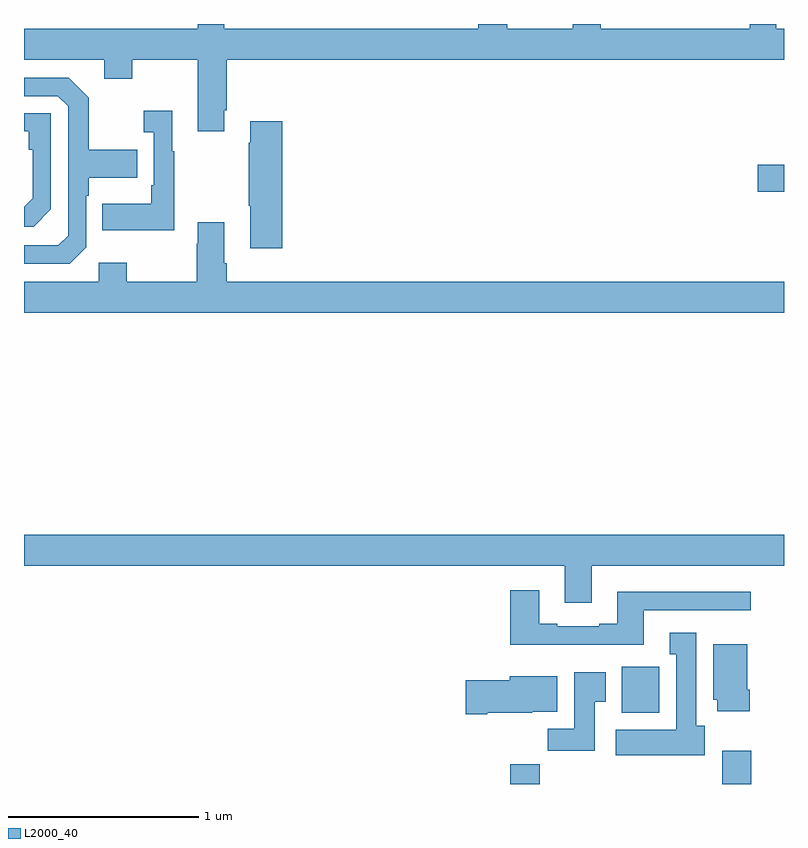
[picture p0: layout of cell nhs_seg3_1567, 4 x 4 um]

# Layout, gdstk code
import gdstk
lib = gdstk.Library(unit=1e-6, precision=1e-09)
def R(c, l, rs):  # rectangles x0, y0, x1, y1
    for r in rs: c.add(gdstk.rectangle(r[:2], r[2:], *l))
def P(c, l, *ps):  # polygons
    for p in ps: c.add(gdstk.Polygon(p, *l))
L2000_40 = (2000, 40)

nhs_seg3_1567 = lib.new_cell('nhs_seg3_1567')
R(nhs_seg3_1567, L2000_40, [(193.559,734.4,193.715,734.504), (194.675,734.4,194.828,734.575), (194.147,734.774,194.344,735.016), (194.862,737.518,195,737.66)])
P(nhs_seg3_1567, L2000_40, [(192.055,737.947),(192.068,737.947),(192.068,738.212),(195,738.212),(195,738.376),(194.959,738.376),(194.959,738.4),(194.819,738.4),(194.819,738.376),(194.035,738.376),(194.035,738.4),(193.888,738.4),(193.888,738.376),(193.543,738.376),(193.543,738.4),(193.391,738.4),(193.391,738.376),(192.055,738.376),(192.055,738.4),(191.915,738.4),(191.915,738.376),(191,738.376),(191,738.212),(191.423,738.212),(191.423,738.113),(191.571,738.113),(191.571,738.212),(191.915,738.212),(191.915,737.835),(192.055,737.835)],
  [(191.328,737.226),(191.328,737.495),(191.341,737.495),(191.341,737.591),(191.597,737.591),(191.597,737.739),(191.341,737.739),(191.341,738.011),(191.235,738.117),(191,738.117),(191,738.021),(191.178,738.021),(191.232,737.967),(191.232,737.286),(191.181,737.235),(191,737.235),(191,737.139),(191.241,737.139)],
  [(191.791,737.731),(191.779,737.731),(191.779,737.944),(191.631,737.944),(191.631,737.831),(191.682,737.831),(191.682,737.551),(191.67,737.551),(191.67,737.455),(191.413,737.455),(191.413,737.315),(191.791,737.315)],
  [(191.142,737.424),(191.142,737.931),(191,737.931),(191,737.835),(191.026,737.835),(191.026,737.738),(191.046,737.738),(191.046,737.484),(191,737.438),(191,737.334),(191.052,737.334)],
  [(192.359,737.887),(192.191,737.887),(192.191,737.774),(192.184,737.774),(192.184,737.443),(192.191,737.443),(192.191,737.22),(192.359,737.22)],
  [(195,737.044),(192.068,737.044),(192.068,737.14),(192.055,737.14),(192.055,737.356),(191.915,737.356),(191.915,737.243),(191.908,737.243),(191.908,737.044),(191.541,737.044),(191.541,737.143),(191.394,737.143),(191.394,737.044),(191,737.044),(191,736.88),(195,736.88)],
  [(193.987,735.548),(195,735.548),(195,735.712),(191,735.712),(191,735.548),(193.847,735.548),(193.847,735.354),(193.987,735.354)],
  [(194.263,735.315),(194.824,735.315),(194.824,735.412),(194.123,735.412),(194.123,735.244),(194.027,735.244),(194.027,735.231),(193.807,735.231),(193.807,735.244),(193.711,735.244),(193.711,735.421),(193.559,735.421),(193.559,735.134),(194.263,735.134)],
  [(194.584,734.706),(194.539,734.706),(194.539,735.196),(194.399,735.196),(194.399,735.083),(194.432,735.083),(194.432,734.686),(194.115,734.686),(194.115,734.552),(194.584,734.552)],
  [(194.819,734.896),(194.806,734.896),(194.806,735.136),(194.627,735.136),(194.627,734.844),(194.648,734.844),(194.648,734.784),(194.819,734.784)],
  [(194.005,734.833),(194.062,734.833),(194.062,734.989),(193.895,734.989),(193.895,734.692),(193.756,734.692),(193.756,734.574),(194.005,734.574)],
  [(193.438,734.774),(193.674,734.774),(193.674,734.78),(193.807,734.78),(193.807,734.968),(193.556,734.968),(193.556,734.945),(193.326,734.945),(193.326,734.767),(193.438,734.767)])

lib.write_gds('nhs_seg3_1567.gds')
